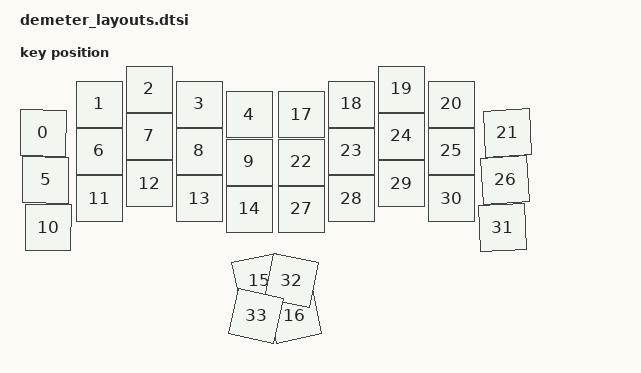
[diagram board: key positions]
#include <physical_layouts.dtsi>

/ {
    demeter_physical_layout: demeter_physical_layout {
        compatible = "zmk,physical-layout";
        display-name = "Demeter";

        transform = <&default_transform>;

        keys  //                     w    h     x    y      rot    rx    ry
            /* ── Left half ──────────────────────────────────────────── */
            = <&key_physical_attrs 100  100     0   88       30    50   138>  /*  0  Q    */
            , <&key_physical_attrs 100  100   112   30        0     0     0>  /*  1  W    */
            , <&key_physical_attrs 100  100   212    0        0     0     0>  /*  2  E    */
            , <&key_physical_attrs 100  100   312   30        0     0     0>  /*  3  R    */
            , <&key_physical_attrs 100  100   412   51        0     0     0>  /*  4  T    */

            , <&key_physical_attrs 100  100     5  182       30    55   232>  /*  5  A    */
            , <&key_physical_attrs 100  100   112  124        0     0     0>  /*  6  S    */
            , <&key_physical_attrs 100  100   212   94        0     0     0>  /*  7  D    */
            , <&key_physical_attrs 100  100   312  124        0     0     0>  /*  8  F    */
            , <&key_physical_attrs 100  100   412  146        0     0     0>  /*  9  G    */

            , <&key_physical_attrs 100  100    10  277       30    60   327>  /* 10  Z    */
            , <&key_physical_attrs 100  100   112  219        0     0     0>  /* 11  X    */
            , <&key_physical_attrs 100  100   212  189        0     0     0>  /* 12  C    */
            , <&key_physical_attrs 100  100   312  219        0     0     0>  /* 13  V    */
            , <&key_physical_attrs 100  100   412  240        0     0     0>  /* 14  B    */

            , <&key_physical_attrs 100  100   432  383    34800   482   433>  /* 15  LTH1 */
            , <&key_physical_attrs 100  100   503  454    34800   553   504>  /* 16  LTH2 */

            /* ── Right half ─────────────────────────────────────────── */
            , <&key_physical_attrs 100  100   517   51        0     0     0>  /* 17  Y    */
            , <&key_physical_attrs 100  100   617   30        0     0     0>  /* 18  U    */
            , <&key_physical_attrs 100  100   717    0        0     0     0>  /* 19  I    */
            , <&key_physical_attrs 100  100   817   30        0     0     0>  /* 20  O    */
            , <&key_physical_attrs 100  100   929   88    35700   979   138>  /* 21  P    */

            , <&key_physical_attrs 100  100   517  146        0     0     0>  /* 22  H    */
            , <&key_physical_attrs 100  100   617  124        0     0     0>  /* 23  J    */
            , <&key_physical_attrs 100  100   717   94        0     0     0>  /* 24  K    */
            , <&key_physical_attrs 100  100   817  124        0     0     0>  /* 25  L    */
            , <&key_physical_attrs 100  100   924  182    35700   974   232>  /* 26  '    */

            , <&key_physical_attrs 100  100   517  240        0     0     0>  /* 27  N    */
            , <&key_physical_attrs 100  100   617  219        0     0     0>  /* 28  M    */
            , <&key_physical_attrs 100  100   717  189        0     0     0>  /* 29  ,    */
            , <&key_physical_attrs 100  100   817  219        0     0     0>  /* 30  .    */
            , <&key_physical_attrs 100  100   919  277    35700   969   327>  /* 31  RET  */

            , <&key_physical_attrs 100  100   497  383     1200   547   433>  /* 32  RTH1 */
            , <&key_physical_attrs 100  100   426  454     1200   476   504>  /* 33  RTH2 */
            ;
    };
};
